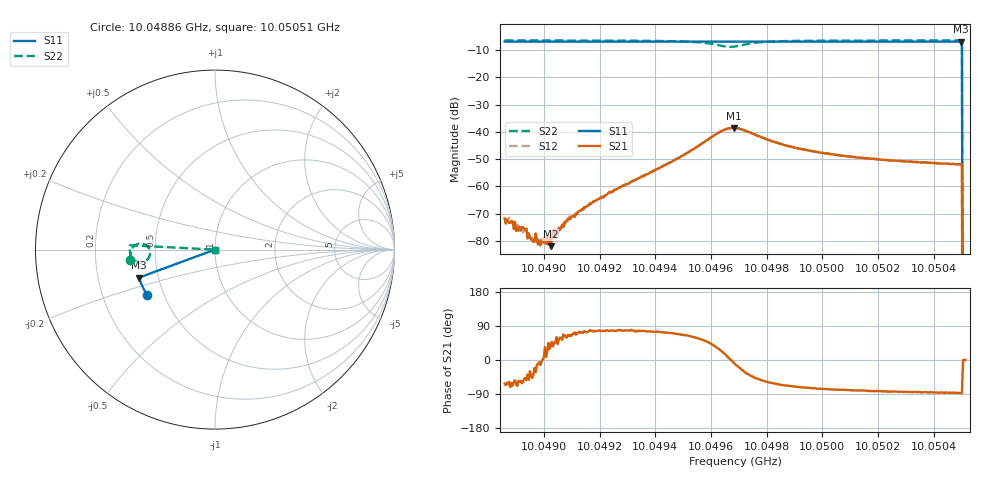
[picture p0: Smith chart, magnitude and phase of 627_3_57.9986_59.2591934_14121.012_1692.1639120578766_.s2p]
#  HZ  S  RI  R  50.00
! Rohde & Schwarz Vector Network Analyzer
! Rohde-Schwarz,ZNB20-2Port,1311601062101988,3.16
! Created: UTC 3/21/2024, 1:18:23 AM
! freq[Hz]  re:S11  im:S11  re:S21  im:S21  re:S12  im:S12  re:S22  im:S22
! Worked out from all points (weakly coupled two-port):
!   401 points, 10.04886 GHz to 10.05051 GHz, reference 50 ohm
!   highest |S21| = -38.52 dB at 10.04968 GHz (marker M1); lowest = -82.0 dB at 10.04902 GHz (marker M2)
!   lowest |S11| = -6.9 dB at 10.0505 GHz (marker M3), VSWR 2.65, Z = 19.4 - j7.64 ohm
!   |S11| at or under -10 dB: 10.0505 GHz to end of sweep
!   |S22| runs from - to -6.4 dB; largest |S21 - S12| = 0.00099
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1.0048859e10  -0.3783 -0.2534  0.000118 -0.000229  0.000121 -0.000219  -0.4723 -0.0602
1.0048884e10  -0.3791 -0.2521  0.000115 -0.000202  0.000104 -0.000191  -0.4724 -0.0584
1.0048908e10  -0.3799 -0.2506  8.64e-05 -0.000125  0.000126 -0.000145  -0.4725 -0.0563
1.0048929e10  -0.3807 -0.2494  0.000109 -0.000125  0.000122 -9.14e-05  -0.4727 -0.0546
1.0048958e10  -0.3817 -0.2477  6.8e-05 -7.31e-05  8.93e-05 -5.96e-05  -0.4729 -0.0522
1.0048979e10  -0.3824 -0.2466  8.43e-05 -1.56e-05  8.1e-05 -3.2e-05  -0.4729 -0.0506
1.0048987e10  -0.3826 -0.2462  8.04e-05 -1.93e-05  0.000102 -1.16e-05  -0.4729 -0.0499
1.0049024e10  -0.3839 -0.244  6.41e-05 4.75e-05  9.21e-05 8.76e-05  -0.4729 -0.0468
1.0049091e10  -0.3863 -0.2404  0.000112 0.000225  0.000101 0.000259  -0.473 -0.0409
1.0049136e10  -0.3876 -0.2377  0.000109 0.000362  9e-05 0.000373  -0.473 -0.0366
1.0049235e10  -0.3909 -0.2319  0.000184 0.000745  0.000127 0.00079  -0.4723 -0.0265
1.0049413e10  -0.3965 -0.2215  0.00058 0.00206  0.000486 0.00212  -0.4666 -0.00267
1.004955e10  -0.4005 -0.2133  0.00282 0.0045  0.00253 0.00468  -0.4418 0.0265
1.0049633e10  -0.4021 -0.2082  0.00895 0.0045  0.00863 0.00507  -0.3829 0.023
1.0049682e10  -0.403 -0.2058  0.0118 -0.00144  0.0118 -0.000657  -0.3642 -0.0353
1.0049686e10  -0.4032 -0.2057  0.0116 -0.00219  0.0117 -0.00122  -0.3662 -0.0403
1.0049786e10  -0.4066 -0.2004  0.00456 -0.00635  0.00498 -0.0061  -0.4403 -0.0659
1.0049964e10  -0.4117 -0.1897  0.00121 -0.00427  0.0015 -0.00417  -0.47 -0.0291
1.0050241e10  -0.4186 -0.1727  0.000371 -0.00296  0.000565 -0.00298  -0.4751 0.00247
1.0050493e10  -0.4244 -0.1572  0.000144 -0.00255  0.000297 -0.00253  -0.4752 0.0237
1.0050497e10  -0.4244 -0.1568  0.000119 -0.00253  0.000249 -0.00251  -0.4752 0.0241
1.0050514e10  0 0  0 0  0 0  0 0
